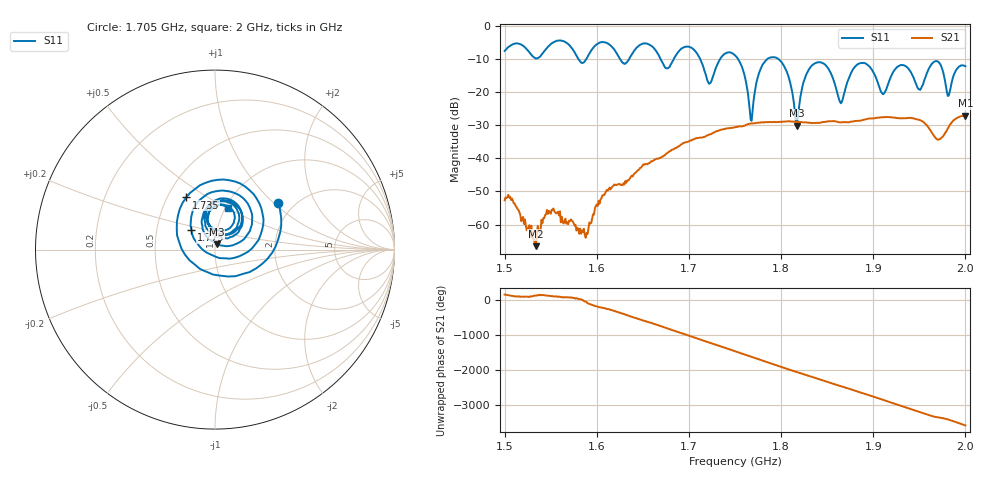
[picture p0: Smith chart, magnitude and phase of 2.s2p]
! NanoVNA-App by SYSJOINT et al v1.1.209 (+OD18)
! Date: 2026-01-21 14:39:31
! Start: 1,5GHz Stop: 2GHz Points: 501
! S-Parameter data: F S11 S21 S12 S22
# Hz S RI R 50
!  Frequency  S11_Real  S11_Imag  S21_Real  S21_Imag  S12_Real  S12_Imag  S22_Real  S22_Imag
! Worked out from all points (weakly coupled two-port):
!   501 points, 1.5 GHz to 2 GHz, reference 50 ohm
!   highest |S21| = -27.18 dB at 2 GHz (marker M1); lowest = -66.5 dB at 1.534 GHz (marker M2)
!   lowest |S11| = -30.1 dB at 1.817 GHz (marker M3), VSWR 1.06, Z = 50.9 + j3.02 ohm
!   |S11| at or under -10 dB: 1.712 GHz to 1.734 GHz (21.95 MHz wide, 1.27 % of centre); 1.753 GHz to 1.785 GHz (32.33 MHz wide, 1.83 % of centre); 1.797 GHz to end of sweep (the widest 3 of 6)
!   S12 and S22 are empty: the file has one direction only
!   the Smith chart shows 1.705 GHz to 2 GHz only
!   S11 on the Smith chart (normalised r, x): 1.705 GHz: 1.66, +1.07; 1.735 GHz: 0.62, +0.41; 1.775 GHz: 0.75, +0.17; 2 GHz: 1.02, +0.51
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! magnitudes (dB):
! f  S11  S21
! 1.5 GHz  -7.6  -52.7
! 1.534 GHz  -10.0  -66.5
! 1.553 GHz  -5.0  -55.1
! 1.584 GHz  -11.3  -61.7
! 1.667 GHz  -8.8  -40.1
! 1.705 GHz  -7.2  -34.3
! 1.722 GHz  -17.6  -32.8
! 1.735 GHz  -9.6  -31.4
! 1.75 GHz  -9.0  -30.7
! 1.767 GHz  -28.3  -29.5
! 1.775 GHz  -15.3  -29.3
! 1.799 GHz  -10.6  -29.0
! 1.817 GHz  -30.1  -29.0
! 1.834 GHz  -11.9  -29.4
! 1.865 GHz  -23.4  -29.1
! 1.885 GHz  -11.4  -28.7
! 1.917 GHz  -16.9  -27.6
! 1.932 GHz  -11.9  -27.9
! 1.951 GHz  -19.4  -28.5
! 1.969 GHz  -10.7  -34.3
! 1.982 GHz  -21.1  -30.5
! 2 GHz  -12.3  -27.2
